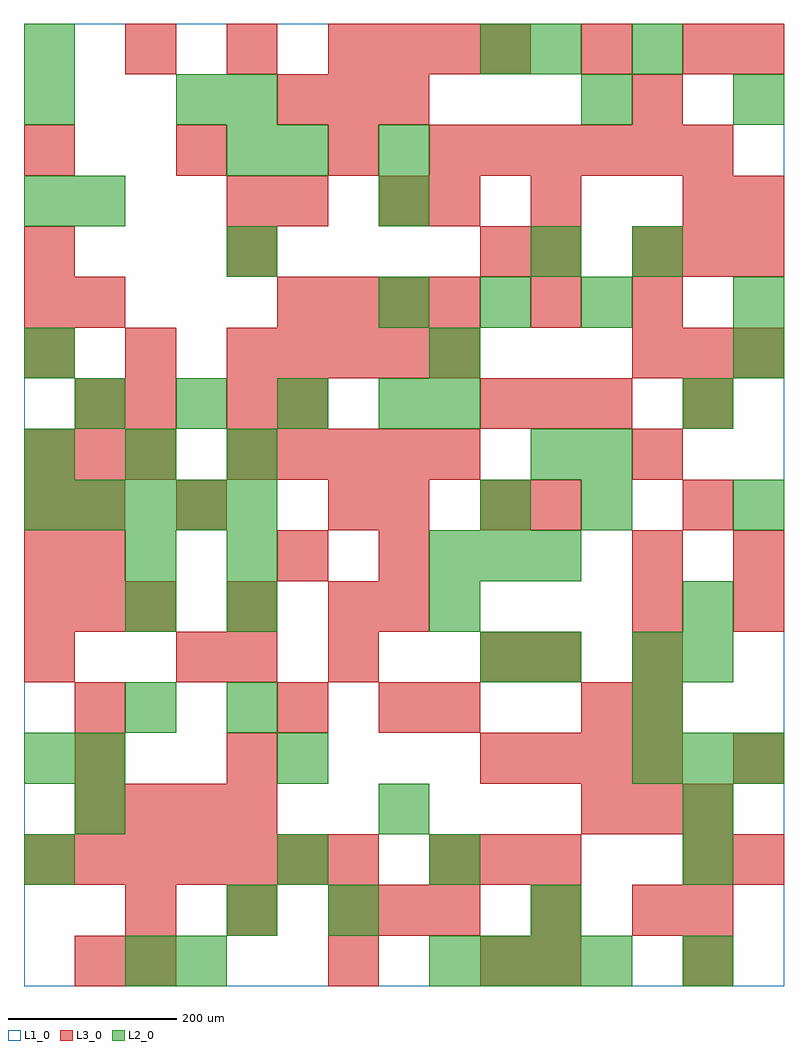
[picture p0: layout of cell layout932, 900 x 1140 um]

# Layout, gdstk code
import gdstk
lib = gdstk.Library(unit=1e-6, precision=1e-09)
def R(c, l, rs):  # rectangles x0, y0, x1, y1
    for r in rs: c.add(gdstk.rectangle(r[:2], r[2:], *l))
def A(c, l, x, y, w, h, nx, ny, dx, dy):  # array of equal rectangles
    R(c, l, [(x+i*dx, y+j*dy, x+i*dx+w, y+j*dy+h) for i in range(nx) for j in range(ny)])
L1_0 = (1, 0)
L2_0 = (2, 0)
L3_0 = (3, 0)

layout932 = lib.new_cell('layout932')
R(layout932, L1_0, [(0,0,900,1140)])
A(layout932, L2_0, 480, 0, 60, 60, 4, 1, 60, 0)
A(layout932, L2_0, 60, 180, 60, 60, 3, 1, 360, 0)
A(layout932, L2_0, 720, 240, 60, 60, 3, 1, 60, 0)
A(layout932, L2_0, 600, 360, 60, 60, 1, 4, 0, 240)
A(layout932, L2_0, 480, 480, 60, 60, 3, 1, 60, 0)
A(layout932, L2_0, 0, 540, 60, 60, 5, 1, 60, 0)
A(layout932, L2_0, 0, 600, 60, 60, 3, 1, 120, 0)
A(layout932, L2_0, 60, 660, 60, 60, 4, 1, 120, 0)
A(layout932, L2_0, 420, 780, 60, 60, 3, 1, 120, 0)
R(layout932, L2_0, [(120,0,180,60), (180,0,240,60), (780,0,840,60), (240,60,300,120), (360,60,420,120), (600,60,660,120), (0,120,60,180), (300,120,360,180), (480,120,540,180), (780,120,840,180), (0,240,60,300), (60,240,120,300), (300,240,360,300), (120,300,180,360), (240,300,300,360), (720,300,780,360), (540,360,600,420), (720,360,780,420), (780,360,840,420), (120,420,180,480), (240,420,300,480), (480,420,540,480), (780,420,840,480), (120,480,180,540), (240,480,300,540), (540,540,600,600), (660,540,720,600), (840,540,900,600), (660,600,720,660), (480,660,540,720), (780,660,840,720), (0,720,60,780), (480,720,540,780), (840,720,900,780), (840,780,900,840), (240,840,300,900), (720,840,780,900), (0,900,60,960), (60,900,120,960), (420,900,480,960), (240,960,300,1020), (300,960,360,1020), (420,960,480,1020), (0,1020,60,1080), (180,1020,240,1080), (240,1020,300,1080), (660,1020,720,1080), (840,1020,900,1080), (0,1080,60,1140), (540,1080,600,1140), (720,1080,780,1140)])
A(layout932, L3_0, 780, 0, 60, 60, 1, 3, 0, 60)
A(layout932, L3_0, 120, 60, 60, 60, 3, 2, 120, 1020)
A(layout932, L3_0, 480, 60, 60, 60, 3, 1, 120, 0)
A(layout932, L3_0, 0, 120, 60, 60, 7, 1, 60, 0)
A(layout932, L3_0, 480, 120, 60, 60, 3, 1, 60, 0)
A(layout932, L3_0, 60, 180, 60, 60, 4, 1, 60, 0)
A(layout932, L3_0, 660, 180, 60, 60, 3, 1, 60, 0)
A(layout932, L3_0, 540, 240, 60, 60, 4, 1, 60, 0)
A(layout932, L3_0, 300, 300, 60, 60, 1, 3, 0, 180)
A(layout932, L3_0, 720, 300, 60, 60, 1, 4, 0, 60)
A(layout932, L3_0, 0, 420, 60, 60, 3, 2, 60, 180)
A(layout932, L3_0, 420, 420, 60, 60, 1, 3, 0, 60)
A(layout932, L3_0, 60, 540, 60, 60, 1, 3, 0, 120)
A(layout932, L3_0, 240, 600, 60, 60, 5, 1, 60, 0)
A(layout932, L3_0, 540, 660, 60, 60, 3, 1, 60, 0)
A(layout932, L3_0, 0, 720, 60, 60, 3, 1, 120, 0)
A(layout932, L3_0, 300, 720, 60, 60, 4, 2, 60, 60)
A(layout932, L3_0, 720, 720, 60, 60, 3, 2, 60, 120)
A(layout932, L3_0, 600, 780, 60, 60, 1, 3, 0, 60)
A(layout932, L3_0, 0, 960, 60, 60, 3, 1, 180, 0)
A(layout932, L3_0, 480, 960, 60, 60, 6, 1, 60, 0)
A(layout932, L3_0, 300, 1020, 60, 60, 3, 1, 60, 0)
A(layout932, L3_0, 420, 1080, 60, 60, 3, 1, 60, 0)
R(layout932, L3_0, [(60,0,120,60), (120,0,180,60), (360,0,420,60), (540,0,600,60), (600,0,660,60), (420,60,480,120), (840,120,900,180), (60,240,120,300), (240,240,300,300), (840,240,900,300), (60,300,120,360), (420,300,480,360), (480,300,540,360), (660,300,720,360), (0,360,60,420), (180,360,240,420), (240,360,300,420), (360,360,420,420), (540,360,600,420), (600,360,660,420), (240,420,300,480), (360,420,420,480), (840,420,900,480), (0,480,60,540), (60,480,120,540), (840,480,900,540), (0,540,60,600), (180,540,240,600), (360,540,420,600), (540,540,600,600), (600,540,660,600), (780,540,840,600), (720,600,780,660), (120,660,180,720), (240,660,300,720), (780,660,840,720), (0,780,60,840), (720,780,780,840), (0,840,60,900), (240,840,300,900), (540,840,600,900), (240,900,300,960), (300,900,360,960), (420,900,480,960), (480,900,540,960), (780,900,840,960), (840,900,900,960), (720,1020,780,1080), (660,1080,720,1140), (780,1080,840,1140), (840,1080,900,1140)])

lib.write_gds('layout932.gds')
